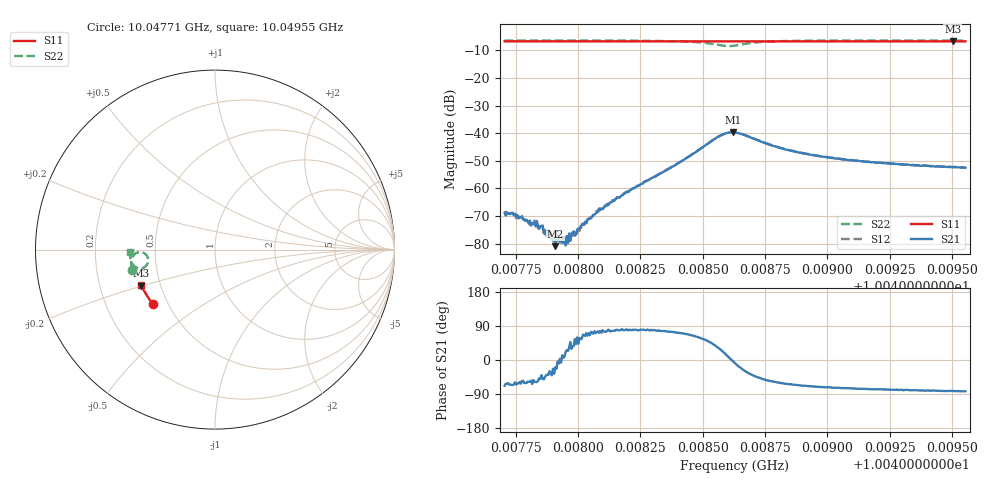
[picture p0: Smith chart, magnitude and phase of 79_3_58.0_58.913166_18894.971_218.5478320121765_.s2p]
#  HZ  S  RI  R  50.00
! Rohde & Schwarz Vector Network Analyzer
! Rohde-Schwarz,ZNB20-2Port,1311601062101988,3.16
! Created: UTC 3/21/2024, 12:53:50 AM
! freq[Hz]  re:S11  im:S11  re:S21  im:S21  re:S12  im:S12  re:S22  im:S22
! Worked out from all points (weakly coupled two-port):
!   401 points, 10.04771 GHz to 10.04955 GHz, reference 50 ohm
!   highest |S21| = -39.70 dB at 10.04862 GHz (marker M1); lowest = -80.9 dB at 10.04791 GHz (marker M2)
!   lowest |S11| = -6.8 dB at 10.0495 GHz (marker M3), VSWR 2.68, Z = 19.5 - j9.88 ohm
!   |S11| at or under -10 dB: nowhere
!   |S22| runs from -8.5 to -6.4 dB; largest |S21 - S12| = 0.00075
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1.0047706e10  -0.3476 -0.3011  0.000133 -0.00033  0.000182 -0.000318  -0.4626 -0.112
1.0047738e10  -0.3489 -0.2995  0.000147 -0.00033  0.000183 -0.00028  -0.463 -0.1097
1.0047798e10  -0.3515 -0.2963  0.000134 -0.000208  0.00014 -0.000211  -0.4638 -0.105
1.0047826e10  -0.3526 -0.2947  0.000119 -0.000188  0.000181 -0.00019  -0.4643 -0.1029
1.0047881e10  -0.3549 -0.2918  0.000134 -0.000109  0.00014 -7.17e-05  -0.4648 -0.0984
1.0047895e10  -0.3554 -0.2911  9.5e-05 -8.12e-05  0.000111 -3.77e-05  -0.4651 -0.0971
1.0047909e10  -0.356 -0.2905  8.5e-05 -2.93e-05  0.000159 -1.65e-05  -0.4651 -0.0961
1.0047937e10  -0.357 -0.2889  0.000101 2.22e-05  0.00013 1.76e-05  -0.4655 -0.0938
1.004796e10  -0.358 -0.2878  9.28e-05 4.1e-05  8.5e-05 0.000101  -0.4657 -0.0918
1.0047974e10  -0.3585 -0.287  0.000132 7.35e-05  8.47e-05 0.000114  -0.4659 -0.0907
1.0048015e10  -0.3603 -0.2847  0.000125 0.000185  8.55e-05 0.000164  -0.4661 -0.0871
1.0048085e10  -0.363 -0.281  0.000134 0.000413  8.51e-05 0.000377  -0.4665 -0.0807
1.0048126e10  -0.3647 -0.2788  0.000116 0.000524  7.04e-05 0.000521  -0.4668 -0.0765
1.0048325e10  -0.3721 -0.2679  0.000364 0.00176  0.000308 0.00178  -0.4638 -0.0522
1.0048565e10  -0.3802 -0.2542  0.0075 0.00449  0.00723 0.00498  -0.3928 -0.021
1.0048621e10  -0.3818 -0.2514  0.0103 -0.000539  0.0104 0.000211  -0.3731 -0.0698
1.004863e10  -0.3819 -0.2511  0.0102 -0.00151  0.0103 -0.000822  -0.3761 -0.0786
1.004881e10  -0.3888 -0.2414  0.00268 -0.0047  0.00298 -0.00455  -0.4545 -0.0872
1.004894e10  -0.3933 -0.2339  0.00139 -0.00375  0.00163 -0.00372  -0.4662 -0.0677
1.0049249e10  -0.403 -0.2158  0.000578 -0.00278  0.000737 -0.00274  -0.4733 -0.0364
1.0049503e10  -0.4102 -0.2005  0.000344 -0.0024  0.000481 -0.00238  -0.4748 -0.0161
1.0049554e10  -0.4117 -0.1975  0.000309 -0.00234  0.000447 -0.00234  -0.4749 -0.0122
